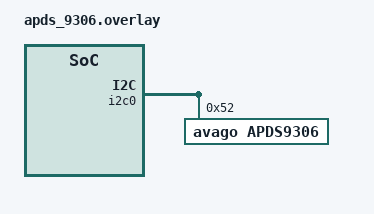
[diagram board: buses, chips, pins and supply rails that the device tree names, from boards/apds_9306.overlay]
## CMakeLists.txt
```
# SPDX-License-Identifier: Apache-2.0

cmake_minimum_required(VERSION 3.28.0)
find_package(Zephyr REQUIRED HINTS $ENV{ZEPHYR_BASE})
project(light)

FILE(GLOB app_sources src/*.c)
target_sources(app PRIVATE ${app_sources})
```

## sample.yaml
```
sample:
  name: Light Sensor Polling Sample
common:
  filter: dt_alias_exists("light-sensor")
tests:
  sample.sensor.light_polling.grove:
    tags:
      - drivers
      - sensor
      - grove
      - light
    platform_allow:
      - nrf52dk/nrf52832
    integration_platforms:
      - nrf52dk/nrf52832
    harness: grove
    depends_on: adc
  sample.sensor.light_polling:
    harness: console
    harness_config:
      type: one_line
      regex:
        - "lux:"
    tags:
      - drivers
      - sensor
      - light
    integration_platforms:
      - frdm_mcxw71/mcxw716c
      - adafruit_qt_py_rp2040/rp2040
      - adafruit_feather_canbus_rp2040/rp2040
      - mikroe_clicker_ra4m1/r7fa4m1ab3cfm
      - mikroe_quail/stm32f427xx
    platform_allow:
      - frdm_mcxw71/mcxw716c
      - adafruit_qt_py_rp2040/rp2040       # adafruit_tsl2591 shield
      - adafruit_feather_canbus_rp2040/rp2040 # adafruit_veml7700 shield
      - mikroe_clicker_ra4m1/r7fa4m1ab3cfm # mikroe_ambient_2_click shield
      - mikroe_quail/stm32f427xx           # mikroe_illuminance_click shield
    extra_args:
      - platform:adafruit_qt_py_rp2040/rp2040:SHIELD="adafruit_tsl2591"
      - platform:adafruit_feather_canbus_rp2040/rp2040:SHIELD="adafruit_veml7700"
      - platform:mikroe_clicker_ra4m1/r7fa4m1ab3cfm:SHIELD="mikroe_ambient_2_click"
      - platform:mikroe_quail/stm32f427xx:SHIELD="mikroe_illuminance_click"
```

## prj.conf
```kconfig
CONFIG_SENSOR=y
CONFIG_REQUIRES_FULL_LIBC=y
CONFIG_REQUIRES_FLOAT_PRINTF=y
CONFIG_CBPRINTF_FP_SUPPORT=y
```

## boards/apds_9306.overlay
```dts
/*
 * Copyright (c) 2025 Daniel Kampert
 *
 * SPDX-License-Identifier: Apache-2.0
 */

/ {
	aliases {
		light-sensor = &apds9306;
	};
};

&i2c0 {
	apds9306: apds9306@52 {
		compatible = "avago,apds9306";
		reg = <0x52>;
		gain = <1>;
		resolution = <13>;
		measurement-period = <2000>;
		status = "okay";
	};
};
```

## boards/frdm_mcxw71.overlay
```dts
/*
 * Copyright (c) 2025 Dipak Shetty <shetty.dipak@gmx.com>
 *
 * SPDX-License-Identifier: Apache-2.0
 */

#include <zephyr/dt-bindings/adc/adc.h>
#include <zephyr/dt-bindings/adc/mcux-lpadc.h>

/ {
	aliases {
		light-sensor = &als_pt19_315c;
	};

	als_pt19_315c: als-pt19-315c {
		compatible = "everlight,als-pt19";
		io-channels = <&adc0 2>;
		load-resistor = <15000>;
	};
};

&adc0 {
	#address-cells = <1>;
	#size-cells = <0>;

	channel@2 {
		reg = <0x2>;
		zephyr,gain = "ADC_GAIN_1";
		zephyr,reference = "ADC_REF_EXTERNAL0";
		zephyr,vref-mv = <3300>;
		zephyr,acquisition-time = <ADC_ACQ_TIME_DEFAULT>;
		zephyr,resolution = <12>;
		zephyr,input-positive = <MCUX_LPADC_CH2B>;
	};
};
```

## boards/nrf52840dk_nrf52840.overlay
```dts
/*
 * Copyright (c) 2022 Luke Holt
 * SPDX-License-Identifier: Apache-2.0
 */

/ {
	aliases {
		light0 = &ltr390;
	};
};

&i2c0 {
    compatible = "nordic,nrf-twi";
    status = "okay";



    ltr390: ltr390@53 {
        compatible = "liteon,ltr390";
        reg = <0x53>;

        /*
         * Resolution options 0-5
         * 0: 20 Bit
         * 1: 19 Bit
         * 2: 18 Bit
         * 3: 17 Bit
         * 4: 16 Bit
         * 5: 13 Bit
         */
        resolution = <2>;

        /*
         * Rate options 0-6
         * 0: 25ms
         * 1: 50ms
         * 2: 100ms
         * 3: 200ms
         * 4: 500ms
         * 5: 1000ms
         * 6: 2000ms
         */
        rate = <2>;

        /*
         * Gain options 0-5
         * 0: 1
         * 1: 3
         * 2: 6
         * 3: 9
         * 4: 18
         */
        gain = <1>;

        int-gpios = <&gpio1 6 (GPIO_PULL_UP | GPIO_ACTIVE_LOW)>;

        /*
         * Interrupt persist options range [1, 16]
         */
        int_persist = <1>;
    };
};
```

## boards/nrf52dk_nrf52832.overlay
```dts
/*
 * Copyright (c) 2019 Nordic Semiconductor ASA
 *
 * SPDX-License-Identifier: Apache-2.0
 */

/ {
	aliases {
		light-sensor = &grove_light;
	};

	grove_light: grove_light {
		compatible = "seeed,grove-light";
		io-channels = <&arduino_adc 0>;
	};
};
```

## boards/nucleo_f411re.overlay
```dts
/*
 * Copyright (c) 2022 Luke Holt
 * SPDX-License-Identifier: Apache-2.0
 */

/ {
	aliases {
		light0 = &ltr390;
	};
};

&i2c1 {
    ltr390: ltr390@53 {
        compatible = "liteon,ltr390";
        reg = <0x53>;

        /*
         * Resolution options 0-5
         * 0: 20 Bit
         * 1: 19 Bit
         * 2: 18 Bit
         * 3: 17 Bit
         * 4: 16 Bit
         * 5: 13 Bit
         */
        resolution = <2>;

        /*
         * Rate options 0-6
         * 0: 25ms
         * 1: 50ms
         * 2: 100ms
         * 3: 200ms
         * 4: 500ms
         * 5: 1000ms
         * 6: 2000ms
         */
        rate = <2>;

        /*
         * Gain options 0-5
         * 0: 1
         * 1: 3
         * 2: 6
         * 3: 9
         * 4: 18
         */
        gain = <1>;

        int-gpios = <&gpiob 4 (GPIO_PULL_UP | GPIO_ACTIVE_LOW)>;

        /*
         * Interrupt persist options range [1, 16]
         */
        int_persist = <1>;
    };
};
```

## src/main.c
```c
/*
 * Copyright (c) 2016 Intel Corporation
 *
 * SPDX-License-Identifier: Apache-2.0
 */

#include <zephyr/device.h>
#include <zephyr/drivers/sensor.h>
#include <zephyr/drivers/sensor_data_types.h>
#include <zephyr/dsp/print_format.h>
#include <zephyr/kernel.h>
#include <zephyr/rtio/rtio.h>
#include <zephyr/sys/util_macro.h>

#define SLEEP_TIME K_MSEC(1000)

/* The light-sensor alias and up to 10 light-sensorN aliases */
#define LIGHT_ALIAS      DT_ALIAS(light_sensor)
#define LIGHT_ALIAS_N(i) DT_ALIAS(_CONCAT(light_sensor, i))

#define LIGHT_DEVICE(node)   IF_ENABLED(DT_NODE_EXISTS(node), (DEVICE_DT_GET(node),))
#define LIGHT_DEVICE_N(i, _) LIGHT_DEVICE(LIGHT_ALIAS_N(i))

static const struct device *const sensors[] = {
	LIGHT_DEVICE(LIGHT_ALIAS)
	LISTIFY(10, LIGHT_DEVICE_N, ())
};

#define LIGHT_IODEV(name, node)                                                                    \
	IF_ENABLED(DT_NODE_EXISTS(node),                                                           \
		   (SENSOR_DT_READ_IODEV(name, node, {SENSOR_CHAN_LIGHT, 0});))
#define LIGHT_IODEV_N(i, _) LIGHT_IODEV(_CONCAT(light_iodev, i), LIGHT_ALIAS_N(i))

LIGHT_IODEV(light_iodev, LIGHT_ALIAS)
LISTIFY(10, LIGHT_IODEV_N, ())

#define LIGHT_IODEV_REF(name, node) IF_ENABLED(DT_NODE_EXISTS(node), (&name,))
#define LIGHT_IODEV_REF_N(i, _)     LIGHT_IODEV_REF(_CONCAT(light_iodev, i), LIGHT_ALIAS_N(i))

static struct rtio_iodev *const iodevs[] = {
	LIGHT_IODEV_REF(light_iodev, LIGHT_ALIAS)
	LISTIFY(10, LIGHT_IODEV_REF_N, ())
};

RTIO_DEFINE(light_ctx, 1, 1);

int main(void)
{
	const struct sensor_chan_spec light_chan = {SENSOR_CHAN_LIGHT, 0};

	for (size_t i = 0; i < ARRAY_SIZE(sensors); i++) {
		if (!device_is_ready(sensors[i])) {
			printk("sensor: device %s not ready.\n", sensors[i]->name);
			return 0;
		}
	}

	while (1) {
		for (size_t i = 0; i < ARRAY_SIZE(sensors); i++) {
			const struct device *dev = sensors[i];
			const struct sensor_decoder_api *decoder;
			struct sensor_q31_data data = {0};
			uint32_t fit = 0;
			uint8_t buf[128];
			int rc;

			rc = sensor_read(iodevs[i], &light_ctx, buf, sizeof(buf));
			if (rc != 0) {
				printk("%s: sensor_read() failed: %d\n", dev->name, rc);
				continue;
			}

			rc = sensor_get_decoder(dev, &decoder);
			if (rc != 0) {
				printk("%s: sensor_get_decoder() failed: %d\n", dev->name, rc);
				continue;
			}

			rc = decoder->decode(buf, light_chan, &fit, 1, &data);
			if (rc != 1) {
				printk("%s: light decode failed: %d\n", dev->name, rc);
				continue;
			}

			printk("%16s: %" PRIq(2) " lx\n", dev->name,
			       PRIq_arg(data.readings[0].light, 2, data.shift));
		}

		k_sleep(SLEEP_TIME);
	}

	return 0;
}
```
